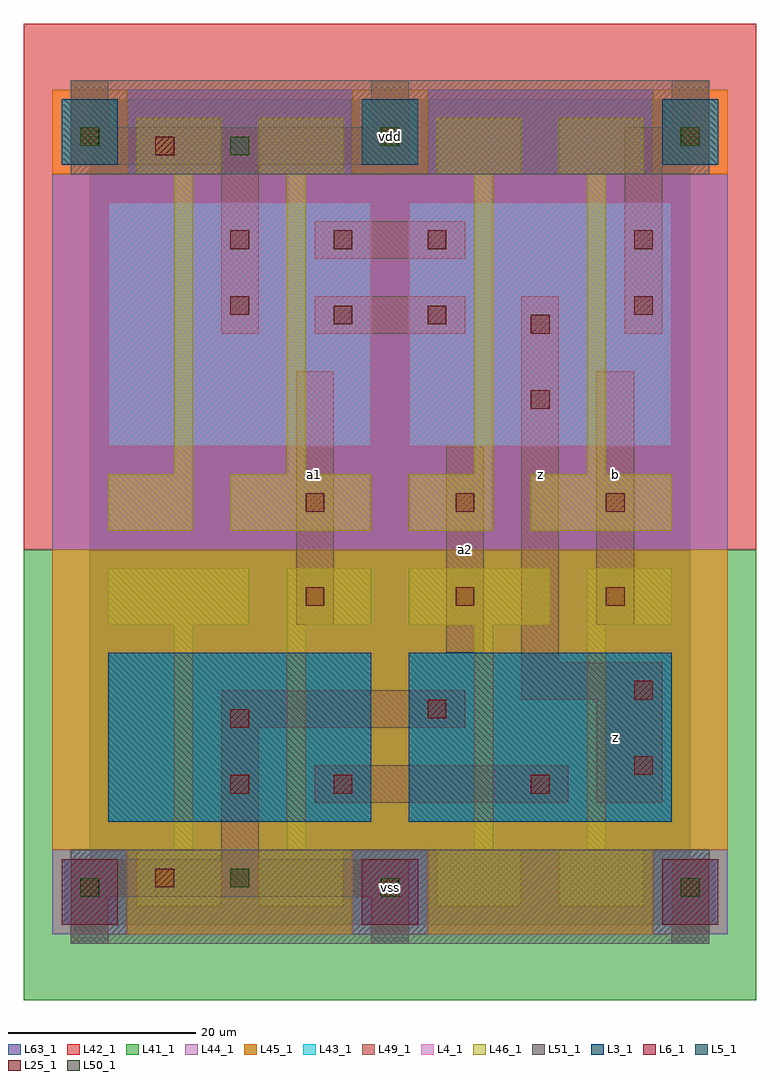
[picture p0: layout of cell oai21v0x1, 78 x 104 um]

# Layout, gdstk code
import gdstk
lib = gdstk.Library(unit=1e-6, precision=1e-09)
def R(c, l, rs):  # rectangles x0, y0, x1, y1
    for r in rs: c.add(gdstk.rectangle(r[:2], r[2:], *l))
def A(c, l, x, y, w, h, nx, ny, dx, dy):  # array of equal rectangles
    R(c, l, [(x+i*dx, y+j*dy, x+i*dx+w, y+j*dy+h) for i in range(nx) for j in range(ny)])
L3_1 = (3, 1)
L4_1 = (4, 1)
L5_1 = (5, 1)
L6_1 = (6, 1)
L25_1 = (25, 1)
L41_1 = (41, 1)
L42_1 = (42, 1)
L43_1 = (43, 1)
L44_1 = (44, 1)
L45_1 = (45, 1)
L46_1 = (46, 1)
L49_1 = (49, 1)
L50_1 = (50, 1)
L51_1 = (51, 1)
L63_1 = (63, 1)

oai21v0x1 = lib.new_cell('oai21v0x1')
R(oai21v0x1, L3_1, [(2,11,30,29), (34,11,62,29)])
R(oai21v0x1, L4_1, [(2,51,30,77), (34,51,62,77)])
A(oai21v0x1, L5_1, -3, 81, 6, 7, 3, 1, 32, 0)
R(oai21v0x1, L6_1, [(-3,0,3,7), (-3,0,3,7), (29,0,35,7), (29,0,35,7), (61,0,67,7), (61,0,67,7)])
A(oai21v0x1, L25_1, -1, 3, 2, 2, 3, 2, 32, 80)
A(oai21v0x1, L25_1, 23, 34, 2, 2, 3, 2, 16, 10)
R(oai21v0x1, L25_1, [(7,4,9,6), (15,14,17,16), (26,14,28,16), (47,14,49,16), (58,16,60,18), (15,21,17,23), (36,22,38,24), (58,24,60,26), (47,55,49,57), (47,63,49,65), (26,64,28,66), (36,64,38,66), (15,65,17,67), (58,65,60,67), (15,72,17,74), (26,72,28,74), (36,72,38,74), (58,72,60,74), (7,82,9,84)])
R(oai21v0x1, L41_1, [(-7,-8,71,40)])
R(oai21v0x1, L42_1, [(-7,40,71,96)])
A(oai21v0x1, L43_1, -3, 0, 6, 7, 3, 2, 32, 81)
R(oai21v0x1, L43_1, [(2,11,30,29), (34,11,62,29), (2,51,30,77), (34,51,62,77)])
A(oai21v0x1, L44_1, -4, -1, 8, 9, 3, 1, 32, 0)
R(oai21v0x1, L44_1, [(-4,40,68,80), (4,80,28,89), (36,80,60,89)])
A(oai21v0x1, L45_1, -4, 80, 8, 9, 3, 1, 32, 0)
R(oai21v0x1, L45_1, [(4,-1,28,8), (36,-1,60,8), (-4,8,68,40)])
R(oai21v0x1, L46_1, [(5,2,14,8), (18,2,27,8), (37,2,46,8), (50,2,59,8), (9,8,11,32), (21,8,23,32), (41,8,43,32), (53,8,55,32), (2,32,17,38), (21,32,30,38), (34,32,49,38), (53,32,62,38), (2,42,11,48), (15,42,30,48), (34,42,43,48), (47,42,62,48), (9,48,11,80), (21,48,23,80), (41,48,43,80), (53,48,55,80), (5,80,14,86), (18,80,27,86), (37,80,46,86), (50,80,59,86)])
A(oai21v0x1, L49_1, -2, 85, 4, 5, 3, 1, 32, 0)
R(oai21v0x1, L49_1, [(-2,-2,2,3), (30,-2,34,3), (62,-2,66,7), (-2,3,34,7), (14,7,18,21), (24,13,51,17), (54,13,61,24), (14,21,40,25), (46,24,61,28), (46,28,50,67), (38,29,42,51), (22,32,26,59), (54,32,58,59), (14,63,18,81), (24,63,40,67), (57,63,61,81), (24,71,40,75), (-2,81,34,85), (57,81,66,85)])
A(oai21v0x1, L50_1, -1, 3, 2, 2, 3, 2, 32, 80)
R(oai21v0x1, L50_1, [(15,4,17,6), (15,82,17,84)])
R(oai21v0x1, L51_1, [(-2,-2,66,8), (-2,80,66,90)])
R(oai21v0x1, L63_1, [(0,0,64,88)])
oai21v0x1.add(gdstk.Label('a1', (24,48), layer=49, texttype=1))
oai21v0x1.add(gdstk.Label('a2', (40,40), layer=49, texttype=1))
oai21v0x1.add(gdstk.Label('z', (56,20), layer=49, texttype=1))
oai21v0x1.add(gdstk.Label('b', (56,48), layer=49, texttype=1))
oai21v0x1.add(gdstk.Label('z', (48,48), layer=49, texttype=1))
oai21v0x1.add(gdstk.Label('vss', (32,4), layer=51, texttype=1))
oai21v0x1.add(gdstk.Label('vdd', (32,84), layer=51, texttype=1))

lib.write_gds('oai21v0x1.gds')
